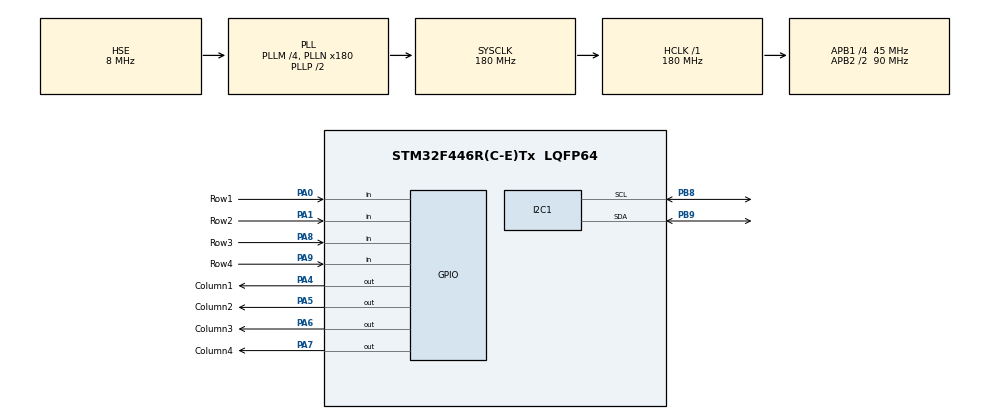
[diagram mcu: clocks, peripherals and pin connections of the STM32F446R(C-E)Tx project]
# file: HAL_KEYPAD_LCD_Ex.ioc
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Mcu.Family=STM32F4
Mcu.Name=STM32F446R(C-E)Tx
Mcu.Package=LQFP64
NVIC.PriorityGroup=NVIC_PRIORITYGROUP_4
PA0-WKUP.GPIO_Label=Row1
PA0-WKUP.GPIO_PuPd=GPIO_PULLDOWN
PA0-WKUP.Signal=GPIO_Input
PA1.GPIO_Label=Row2
PA1.GPIO_PuPd=GPIO_PULLDOWN
PA1.Signal=GPIO_Input
PA4.GPIO_Label=Column1
PA4.GPIO_ModeDefaultOutputPP=GPIO_MODE_OUTPUT_PP
PA4.GPIO_PuPd=GPIO_NOPULL
PA4.GPIO_Speed=GPIO_SPEED_FREQ_MEDIUM
PA4.PinState=GPIO_PIN_RESET
PA4.Signal=GPIO_Output
PA5.GPIO_Label=Column2
PA5.GPIO_PuPd=GPIO_NOPULL
PA5.GPIO_Speed=GPIO_SPEED_FREQ_MEDIUM
PA5.PinState=GPIO_PIN_RESET
PA5.Signal=GPIO_Output
PA6.GPIO_Label=Column3
PA6.GPIO_Speed=GPIO_SPEED_FREQ_MEDIUM
PA6.PinState=GPIO_PIN_RESET
PA6.Signal=GPIO_Output
PA7.GPIO_Label=Column4
PA7.GPIO_Speed=GPIO_SPEED_FREQ_MEDIUM
PA7.PinState=GPIO_PIN_RESET
PA7.Signal=GPIO_Output
PA8.GPIO_Label=Row3
PA8.GPIO_PuPd=GPIO_PULLDOWN
PA8.Signal=GPIO_Input
PA9.GPIO_Label=Row4
PA9.GPIO_PuPd=GPIO_PULLDOWN
PA9.Signal=GPIO_Input
PB8.Mode=I2C
PB8.Signal=I2C1_SCL
PB9.Mode=I2C
PB9.Signal=I2C1_SDA
PH0-OSC_IN.Mode=HSE-External-Oscillator
PH0-OSC_IN.Signal=RCC_OSC_IN
PH1-OSC_OUT.Mode=HSE-External-Oscillator
PH1-OSC_OUT.Signal=RCC_OSC_OUT
ProjectManager.HeapSize=0x200
ProjectManager.StackSize=0x400
ProjectManager.TargetToolchain=STM32CubeIDE
RCC.AHBFreq_Value=180000000
RCC.APB1CLKDivider=RCC_HCLK_DIV4
RCC.APB1Freq_Value=45000000
RCC.APB1TimFreq_Value=90000000
RCC.APB2CLKDivider=RCC_HCLK_DIV2
RCC.APB2Freq_Value=90000000
RCC.APB2TimFreq_Value=180000000
RCC.CortexFreq_Value=180000000
RCC.HCLKFreq_Value=180000000
RCC.HSE_VALUE=8000000
RCC.PLLM=4
RCC.PLLN=180
RCC.PLLSourceVirtual=RCC_PLLSOURCE_HSE
RCC.SYSCLKFreq_VALUE=180000000
RCC.SYSCLKSource=RCC_SYSCLKSOURCE_PLLCLK
RCC.USBFreq_Value=180000000
RCC.VCOOutputFreq_Value=360000000
board=custom

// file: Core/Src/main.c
/* USER CODE BEGIN Header */
/**
  ******************************************************************************
  * @file           : main.c
  * @brief          : Main program body
  ******************************************************************************
  * @attention
  *
  * <h2><center>&copy; Copyright (c) 2020 STMicroelectronics.
  * All rights reserved.</center></h2>
  *
  * This software component is licensed by ST under BSD 3-Clause license,
  * the "License"; You may not use this file except in compliance with the
  * License. You may obtain a copy of the License at:
  *                        opensource.org/licenses/BSD-3-Clause
  *
  ******************************************************************************
  */
/* USER CODE END Header */
#include "main.h"

/* USER CODE BEGIN Includes */
#include "i2c-lcd.h"
/* USER CODE END Includes */

I2C_HandleTypeDef hi2c1;

/* USER CODE BEGIN PV */
char key;
uint8_t counter=0;
/* USER CODE END PV */

void SystemClock_Config(void);
static void MX_GPIO_Init(void);
static void MX_I2C1_Init(void);
/* USER CODE BEGIN PFP */
char Read_Key();

/* USER CODE END PFP */

/* USER CODE BEGIN 0 */

char Read_Key()
{
	counter = 0;
	if (counter ==0){
		HAL_GPIO_WritePin(GPIOA, Column4_Pin, GPIO_PIN_RESET);
		HAL_GPIO_WritePin(GPIOA, Column1_Pin, GPIO_PIN_SET);

		if(HAL_GPIO_ReadPin(GPIOA, Row1_Pin)){
			while(HAL_GPIO_ReadPin(GPIOA, Row1_Pin));
			return '1';
		}
		else if (HAL_GPIO_ReadPin(GPIOA, Row2_Pin)){
			while (HAL_GPIO_ReadPin(GPIOA, Row2_Pin));
			return '2';
		}
		else if (HAL_GPIO_ReadPin(GPIOA, Row3_Pin)) {
			while (HAL_GPIO_ReadPin(GPIOA, Row3_Pin));
			return '3';
		} else if (HAL_GPIO_ReadPin(GPIOA, Row4_Pin)) {
			while (HAL_GPIO_ReadPin(GPIOA, Row4_Pin));
			return 'A';
		}
		else
			counter++;
	}
	 if (counter == 1) {
		HAL_GPIO_WritePin(GPIOA, Column1_Pin, GPIO_PIN_RESET);
		HAL_GPIO_WritePin(GPIOA, Column2_Pin, GPIO_PIN_SET);

		if (HAL_GPIO_ReadPin(GPIOA, Row1_Pin)) {
			while (HAL_GPIO_ReadPin(GPIOA, Row1_Pin));
			return '4';
		} else if (HAL_GPIO_ReadPin(GPIOA, Row2_Pin)) {
			while (HAL_GPIO_ReadPin(GPIOA, Row2_Pin));
			return '5';
		} else if (HAL_GPIO_ReadPin(GPIOA, Row3_Pin)) {
			while (HAL_GPIO_ReadPin(GPIOA, Row3_Pin));
			return '6';
		} else if (HAL_GPIO_ReadPin(GPIOA, Row4_Pin)) {
			while (HAL_GPIO_ReadPin(GPIOA, Row4_Pin));
			return 'B';
		} else
			counter++;
	}
	 if (counter == 2) {
		HAL_GPIO_WritePin(GPIOA, Column2_Pin, GPIO_PIN_RESET);
		HAL_GPIO_WritePin(GPIOA, Column3_Pin, GPIO_PIN_SET);

		if (HAL_GPIO_ReadPin(GPIOA, Row1_Pin)) {
			while (HAL_GPIO_ReadPin(GPIOA, Row1_Pin));
			return '7';
		} else if (HAL_GPIO_ReadPin(GPIOA, Row2_Pin)) {
			while (HAL_GPIO_ReadPin(GPIOA, Row2_Pin));
			return '8';
		} else if (HAL_GPIO_ReadPin(GPIOA, Row3_Pin)) {
			while (HAL_GPIO_ReadPin(GPIOA, Row3_Pin));
			return '9';
		} else if (HAL_GPIO_ReadPin(GPIOA, Row4_Pin)) {
			while (HAL_GPIO_ReadPin(GPIOA, Row4_Pin));
			return 'C';
		} else
			counter++;
	}
	 if (counter == 3) {
		HAL_GPIO_WritePin(GPIOA, Column3_Pin, GPIO_PIN_RESET);
		HAL_GPIO_WritePin(GPIOA, Column4_Pin, GPIO_PIN_SET);

		if (HAL_GPIO_ReadPin(GPIOA, Row1_Pin)) {
			while (HAL_GPIO_ReadPin(GPIOA, Row1_Pin));
			return '*';
		} else if (HAL_GPIO_ReadPin(GPIOA, Row2_Pin)) {
			while (HAL_GPIO_ReadPin(GPIOA, Row2_Pin));
			return '0';
		} else if (HAL_GPIO_ReadPin(GPIOA, Row3_Pin)) {
			while (HAL_GPIO_ReadPin(GPIOA, Row3_Pin));
			return '#';
		} else if (HAL_GPIO_ReadPin(GPIOA, Row4_Pin)) {
			while (HAL_GPIO_ReadPin(GPIOA, Row4_Pin));
			return 'D';
		} else
			counter=0;
	}
	 return 0;
}

/* USER CODE END 0 */

int main(void)
{

  /* MCU Configuration--------------------------------------------------------*/

  /* Reset of all peripherals, Initializes the Flash interface and the Systick. */
  HAL_Init();

  /* Configure the system clock */
  SystemClock_Config();

  /* Initialize all configured peripherals */
  MX_GPIO_Init();
  MX_I2C1_Init();
  /* USER CODE BEGIN 2 */
  lcd_init();
  /* USER CODE END 2 */

  /* Infinite loop */
  /* USER CODE BEGIN WHILE */
  while (1)
  {
	  lcd_send_cmd(0x1);
	  key=Read_Key();
	  if(key!=0)
		  lcd_send_data(key);
	  HAL_Delay(100);
    /* USER CODE END WHILE */

  }
}

void SystemClock_Config(void)
{
  RCC_OscInitTypeDef RCC_OscInitStruct = {0};
  RCC_ClkInitTypeDef RCC_ClkInitStruct = {0};

  /** Configure the main internal regulator output voltage
  */
  __HAL_RCC_PWR_CLK_ENABLE();
  __HAL_PWR_VOLTAGESCALING_CONFIG(PWR_REGULATOR_VOLTAGE_SCALE1);
  /** Initializes the RCC Oscillators according to the specified parameters
  * in the RCC_OscInitTypeDef structure.
  */
  RCC_OscInitStruct.OscillatorType = RCC_OSCILLATORTYPE_HSE;
  RCC_OscInitStruct.HSEState = RCC_HSE_ON;
  RCC_OscInitStruct.PLL.PLLState = RCC_PLL_ON;
  RCC_OscInitStruct.PLL.PLLSource = RCC_PLLSOURCE_HSE;
  RCC_OscInitStruct.PLL.PLLM = 4;
  RCC_OscInitStruct.PLL.PLLN = 180;
  RCC_OscInitStruct.PLL.PLLP = RCC_PLLP_DIV2;
  RCC_OscInitStruct.PLL.PLLQ = 2;
  RCC_OscInitStruct.PLL.PLLR = 2;
  if (HAL_RCC_OscConfig(&RCC_OscInitStruct) != HAL_OK)
  {
    Error_Handler();
  }
  /** Activate the Over-Drive mode
  */
  if (HAL_PWREx_EnableOverDrive() != HAL_OK)
  {
    Error_Handler();
  }
  /** Initializes the CPU, AHB and APB buses clocks
  */
  RCC_ClkInitStruct.ClockType = RCC_CLOCKTYPE_HCLK|RCC_CLOCKTYPE_SYSCLK
                              |RCC_CLOCKTYPE_PCLK1|RCC_CLOCKTYPE_PCLK2;
  RCC_ClkInitStruct.SYSCLKSource = RCC_SYSCLKSOURCE_PLLCLK;
  RCC_ClkInitStruct.AHBCLKDivider = RCC_SYSCLK_DIV1;
  RCC_ClkInitStruct.APB1CLKDivider = RCC_HCLK_DIV4;
  RCC_ClkInitStruct.APB2CLKDivider = RCC_HCLK_DIV2;

  if (HAL_RCC_ClockConfig(&RCC_ClkInitStruct, FLASH_LATENCY_5) != HAL_OK)
  {
    Error_Handler();
  }
}

static void MX_I2C1_Init(void)
{

  hi2c1.Instance = I2C1;
  hi2c1.Init.ClockSpeed = 100000;
  hi2c1.Init.DutyCycle = I2C_DUTYCYCLE_2;
  hi2c1.Init.OwnAddress1 = 0;
  hi2c1.Init.AddressingMode = I2C_ADDRESSINGMODE_7BIT;
  hi2c1.Init.DualAddressMode = I2C_DUALADDRESS_DISABLE;
  hi2c1.Init.OwnAddress2 = 0;
  hi2c1.Init.GeneralCallMode = I2C_GENERALCALL_DISABLE;
  hi2c1.Init.NoStretchMode = I2C_NOSTRETCH_DISABLE;
  if (HAL_I2C_Init(&hi2c1) != HAL_OK)
  {
    Error_Handler();
  }

}

static void MX_GPIO_Init(void)
{
  GPIO_InitTypeDef GPIO_InitStruct = {0};

  /* GPIO Ports Clock Enable */
  __HAL_RCC_GPIOH_CLK_ENABLE();
  __HAL_RCC_GPIOA_CLK_ENABLE();
  __HAL_RCC_GPIOB_CLK_ENABLE();

  /*Configure GPIO pin Output Level */
  HAL_GPIO_WritePin(GPIOA, Column1_Pin|Column2_Pin|Column3_Pin|Column4_Pin, GPIO_PIN_RESET);

  /*Configure GPIO pins : Row1_Pin Row2_Pin Row3_Pin Row4_Pin */
  GPIO_InitStruct.Pin = Row1_Pin|Row2_Pin|Row3_Pin|Row4_Pin;
  GPIO_InitStruct.Mode = GPIO_MODE_INPUT;
  GPIO_InitStruct.Pull = GPIO_PULLDOWN;
  HAL_GPIO_Init(GPIOA, &GPIO_InitStruct);

  /*Configure GPIO pins : Column1_Pin Column2_Pin Column3_Pin Column4_Pin */
  GPIO_InitStruct.Pin = Column1_Pin|Column2_Pin|Column3_Pin|Column4_Pin;
  GPIO_InitStruct.Mode = GPIO_MODE_OUTPUT_PP;
  GPIO_InitStruct.Pull = GPIO_NOPULL;
  GPIO_InitStruct.Speed = GPIO_SPEED_FREQ_MEDIUM;
  HAL_GPIO_Init(GPIOA, &GPIO_InitStruct);

}

void Error_Handler(void)
{
}

/************************ (C) COPYRIGHT STMicroelectronics *****END OF FILE****/
